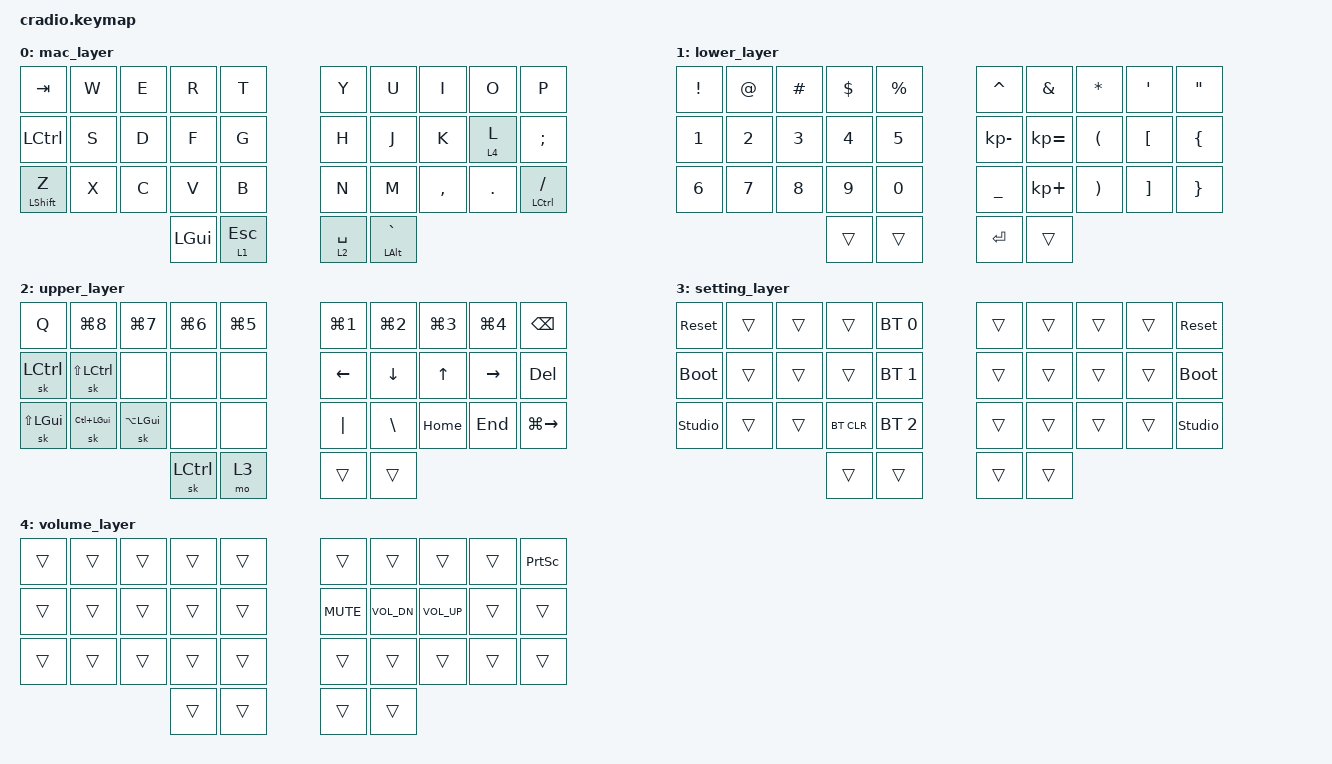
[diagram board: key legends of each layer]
// Copyright (c) 2022 The ZMK Contributors
// SPDX-License-Identifier: MIT

#include <behaviors.dtsi>
#include <dt-bindings/zmk/bt.h>
#include <dt-bindings/zmk/keys.h>

/ {
    behaviors {
        hm: homerow_mods {
            compatible = "zmk,behavior-hold-tap";
            #binding-cells = <2>;
            tapping-term-ms = <300>;
            flavor = "balanced";
            bindings = <&kp>, <&kp>;

            quick-tap-ms = <200>;
            hold-trigger-on-release;
        };

        lt_esc: lt_esc {
            compatible = "zmk,behavior-hold-tap";
            #binding-cells = <2>;
            tapping-term-ms = <200>;
            flavor = "hold-preferred";
            quick-tap-ms = <0>;
            bindings = <&mo>, <&kp>;
        };
    };

    combos {
        compatible = "zmk,combos";

        tmux {
            bindings = <&kp LC(B)>;
            key-positions = <10 11>;
        };
    };

    keymap {
        compatible = "zmk,keymap";

        mac_layer {
            bindings = <
&kp TAB           &kp W  &kp E  &kp R     &kp T        &kp Y        &kp U           &kp I      &kp O    &kp P
&kp LEFT_CONTROL  &kp S  &kp D  &kp F     &kp G        &kp H        &kp J           &kp K      &lt 4 L  &kp SEMICOLON
&hm LSHIFT Z      &kp X  &kp C  &kp V     &kp B        &kp N        &kp M           &kp COMMA  &kp DOT  &hm LCTRL SLASH
                                &kp LGUI  &lt_esc 1 ESC    &lt 2 SPACE  &hm LALT GRAVE
            >;
        };

        lower_layer {
            bindings = <
&kp EXCL  &kp AT  &kp HASH  &kp DOLLAR  &kp PERCENT    &kp CARET       &kp AMPERSAND  &kp ASTERISK           &kp SQT            &kp DOUBLE_QUOTES
&kp N1    &kp N2  &kp N3    &kp N4      &kp N5         &kp KP_MINUS    &kp KP_EQUAL   &kp LEFT_PARENTHESIS   &kp LEFT_BRACKET   &kp LEFT_BRACE
&kp N6    &kp N7  &kp N8    &kp N9      &kp N0         &kp UNDERSCORE  &kp KP_PLUS    &kp RIGHT_PARENTHESIS  &kp RIGHT_BRACKET  &kp RIGHT_BRACE
                            &trans      &trans         &kp ENTER       &trans
            >;
        };

        upper_layer {
            bindings = <
&kp Q             &kp LG(N8)     &kp LG(N7)    &kp LG(NUMBER_6)  &kp LG(N5)    &kp LG(NUMBER_1)  &kp LG(NUMBER_2)  &kp LG(NUMBER_3)  &kp LG(NUMBER_4)  &kp BACKSPACE
&sk LCTRL         &sk LS(LCTRL)  &none         &none             &none         &kp LEFT_ARROW    &kp DOWN_ARROW    &kp UP_ARROW      &kp RIGHT_ARROW   &kp DELETE
&sk LS(LEFT_GUI)  &sk LC(LGUI)   &sk LA(LGUI)  &none             &none         &kp PIPE          &kp BACKSLASH     &kp HOME          &kp END           &kp LG(RIGHT)
                                               &sk LCTRL         &mo 3         &trans            &trans
            >;
        };

        setting_layer {
            bindings = <
&sys_reset      &trans  &trans  &trans      &bt BT_SEL 0    &trans  &trans  &trans  &trans  &sys_reset
&bootloader     &trans  &trans  &trans      &bt BT_SEL 1    &trans  &trans  &trans  &trans  &bootloader
&studio_unlock  &trans  &trans  &bt BT_CLR  &bt BT_SEL 2    &trans  &trans  &trans  &trans  &studio_unlock
                                &trans      &trans          &trans  &trans
            >;
        };

        volume_layer {
            bindings = <
&trans  &trans  &trans  &trans  &trans    &trans      &trans        &trans        &trans  &kp PRINTSCREEN
&trans  &trans  &trans  &trans  &trans    &kp K_MUTE  &kp C_VOL_DN  &kp C_VOL_UP  &trans  &trans
&trans  &trans  &trans  &trans  &trans    &trans      &trans        &trans        &trans  &trans
                        &trans  &trans    &trans      &trans
            >;
        };
    };
};
